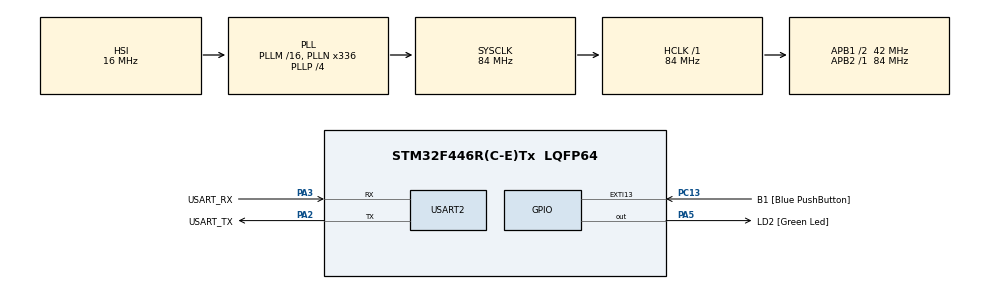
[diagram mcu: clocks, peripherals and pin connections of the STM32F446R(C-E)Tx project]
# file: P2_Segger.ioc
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Mcu.Family=STM32F4
Mcu.Name=STM32F446R(C-E)Tx
Mcu.Package=LQFP64
NVIC.PriorityGroup=NVIC_PRIORITYGROUP_4
NVIC.TIM5_IRQn=true\:0\:0\:false\:false\:true\:false\:true\:true
NVIC.TimeBase=TIM5_IRQn
NVIC.TimeBaseIP=TIM5
PA13.GPIO_Label=TMS
PA13.Mode=Serial_Wire
PA13.Signal=SYS_JTMS-SWDIO
PA14.GPIO_Label=TCK
PA14.Mode=Serial_Wire
PA14.Signal=SYS_JTCK-SWCLK
PA2.GPIO_Label=USART_TX
PA2.Mode=Asynchronous
PA2.Signal=USART2_TX
PA3.GPIO_Label=USART_RX
PA3.Mode=Asynchronous
PA3.Signal=USART2_RX
PA5.GPIO_Label=LD2 [Green Led]
PA5.Signal=GPIO_Output
PB3.GPIO_Label=SWO
PB3.Signal=SYS_JTDO-SWO
PC13.GPIO_Label=B1 [Blue PushButton]
PC13.GPIO_ModeDefaultEXTI=GPIO_MODE_IT_FALLING
PC13.Signal=GPXTI13
PC14-OSC32_IN.Mode=LSE-External-Oscillator
PC14-OSC32_IN.Signal=RCC_OSC32_IN
PC15-OSC32_OUT.Mode=LSE-External-Oscillator
PC15-OSC32_OUT.Signal=RCC_OSC32_OUT
PH0-OSC_IN.Mode=HSE-External-Oscillator
PH0-OSC_IN.Signal=RCC_OSC_IN
PH1-OSC_OUT.Mode=HSE-External-Oscillator
PH1-OSC_OUT.Signal=RCC_OSC_OUT
ProjectManager.HeapSize=0x200
ProjectManager.StackSize=0x400
ProjectManager.TargetToolchain=STM32CubeIDE
RCC.48MHZClocksFreq_Value=84000000
RCC.AHBFreq_Value=84000000
RCC.APB1CLKDivider=RCC_HCLK_DIV2
RCC.APB1Freq_Value=42000000
RCC.APB1TimFreq_Value=84000000
RCC.APB2Freq_Value=84000000
RCC.APB2TimFreq_Value=84000000
RCC.CortexFreq_Value=84000000
RCC.FLatency-AdvancedSettings=FLASH_LATENCY_2
RCC.HCLKFreq_Value=84000000
RCC.HSE_VALUE=8000000
RCC.HSI_VALUE=16000000
RCC.PLLN=336
RCC.PLLP=RCC_PLLP_DIV4
RCC.SYSCLKFreq_VALUE=84000000
RCC.SYSCLKSource=RCC_SYSCLKSOURCE_PLLCLK
RCC.USBFreq_Value=168000000
RCC.VCOOutputFreq_Value=336000000
USART2.VirtualMode=VM_ASYNC
VP_SYS_VS_tim5.Mode=TIM5
board=NUCLEO-F446RE

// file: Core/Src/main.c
/* USER CODE BEGIN Header */
/**
  ******************************************************************************
  * @file           : main.c
  * @brief          : Main program body
  ******************************************************************************
  * @attention
  *
  * Copyright (c) 2023 STMicroelectronics.
  * All rights reserved.
  *
  * This software is licensed under terms that can be found in the LICENSE file
  * in the root directory of this software component.
  * If no LICENSE file comes with this software, it is provided AS-IS.
  *
  ******************************************************************************
  */
/* USER CODE END Header */
#include "main.h"

/* USER CODE BEGIN Includes */
#include"FreeRTOS.h"
#include"task.h"
#include"stdio.h"
/* USER CODE END Includes */

UART_HandleTypeDef huart2;

/* USER CODE BEGIN PV */
#define DWT_CTRL (*(volatile uint32_t *)0xE0001000)
/* USER CODE END PV */

void SystemClock_Config(void);
static void MX_GPIO_Init(void);
static void MX_USART2_UART_Init(void);
/* USER CODE BEGIN PFP */
static void task1_handler(void * parameters);
static void task2_handler(void * parameters);
/* USER CODE END PFP */

int main(void)
{

  /* MCU Configuration--------------------------------------------------------*/

  /* Reset of all peripherals, Initializes the Flash interface and the Systick. */
  HAL_Init();

  /* USER CODE BEGIN Init */
  TaskHandle_t task1_handle;
  TaskHandle_t task2_handle;

  BaseType_t status;
  /* USER CODE END Init */

  /* Configure the system clock */
  SystemClock_Config();

  /* USER CODE BEGIN SysInit */
  TaskHandle_t xTaskHanle1 =NULL;
    TaskHandle_t xTaskHanle2 =NULL;
  /* USER CODE END SysInit */

  /* Initialize all configured peripherals */
  MX_GPIO_Init();
  MX_USART2_UART_Init();
  /* USER CODE BEGIN 2 */
  //  Enable CYCCNT counter
    	  	  DWT_CTRL |= (1<<0);

    	  	  SEGGER_SYSVIEW_Conf();
    	  	  SEGGER_SYSVIEW_Start();

    	  	  status=xTaskCreate(task1_handler,"Task-1", 200,"Hello world from Task-1" , 2, &task1_handle);
      	  configASSERT(status== pdPASS);

      	  status=xTaskCreate(task2_handler,"Task-2", 200,"Hello world from Task-2" , 2, &task2_handle);
      	  configASSERT(status== pdPASS);

  vTaskStartScheduler();
  /* USER CODE END 2 */

  /* Infinite loop */
  while (1)
  {

  }
}

void SystemClock_Config(void)
{
  RCC_OscInitTypeDef RCC_OscInitStruct = {0};
  RCC_ClkInitTypeDef RCC_ClkInitStruct = {0};

  /** Configure the main internal regulator output voltage
  */
  __HAL_RCC_PWR_CLK_ENABLE();
  __HAL_PWR_VOLTAGESCALING_CONFIG(PWR_REGULATOR_VOLTAGE_SCALE3);

  /** Initializes the RCC Oscillators according to the specified parameters
  * in the RCC_OscInitTypeDef structure.
  */
  RCC_OscInitStruct.OscillatorType = RCC_OSCILLATORTYPE_HSI;
  RCC_OscInitStruct.HSIState = RCC_HSI_ON;
  RCC_OscInitStruct.HSICalibrationValue = RCC_HSICALIBRATION_DEFAULT;
  RCC_OscInitStruct.PLL.PLLState = RCC_PLL_ON;
  RCC_OscInitStruct.PLL.PLLSource = RCC_PLLSOURCE_HSI;
  RCC_OscInitStruct.PLL.PLLM = 16;
  RCC_OscInitStruct.PLL.PLLN = 336;
  RCC_OscInitStruct.PLL.PLLP = RCC_PLLP_DIV4;
  RCC_OscInitStruct.PLL.PLLQ = 2;
  RCC_OscInitStruct.PLL.PLLR = 2;
  if (HAL_RCC_OscConfig(&RCC_OscInitStruct) != HAL_OK)
  {
    Error_Handler();
  }

  /** Initializes the CPU, AHB and APB buses clocks
  */
  RCC_ClkInitStruct.ClockType = RCC_CLOCKTYPE_HCLK|RCC_CLOCKTYPE_SYSCLK
                              |RCC_CLOCKTYPE_PCLK1|RCC_CLOCKTYPE_PCLK2;
  RCC_ClkInitStruct.SYSCLKSource = RCC_SYSCLKSOURCE_PLLCLK;
  RCC_ClkInitStruct.AHBCLKDivider = RCC_SYSCLK_DIV1;
  RCC_ClkInitStruct.APB1CLKDivider = RCC_HCLK_DIV2;
  RCC_ClkInitStruct.APB2CLKDivider = RCC_HCLK_DIV1;

  if (HAL_RCC_ClockConfig(&RCC_ClkInitStruct, FLASH_LATENCY_2) != HAL_OK)
  {
    Error_Handler();
  }
}

static void MX_USART2_UART_Init(void)
{

  huart2.Instance = USART2;
  huart2.Init.BaudRate = 115200;
  huart2.Init.WordLength = UART_WORDLENGTH_8B;
  huart2.Init.StopBits = UART_STOPBITS_1;
  huart2.Init.Parity = UART_PARITY_NONE;
  huart2.Init.Mode = UART_MODE_TX_RX;
  huart2.Init.HwFlowCtl = UART_HWCONTROL_NONE;
  huart2.Init.OverSampling = UART_OVERSAMPLING_16;
  if (HAL_UART_Init(&huart2) != HAL_OK)
  {
    Error_Handler();
  }

}

static void MX_GPIO_Init(void)
{
  GPIO_InitTypeDef GPIO_InitStruct = {0};

  /* GPIO Ports Clock Enable */
  __HAL_RCC_GPIOC_CLK_ENABLE();
  __HAL_RCC_GPIOH_CLK_ENABLE();
  __HAL_RCC_GPIOA_CLK_ENABLE();
  __HAL_RCC_GPIOB_CLK_ENABLE();

  /*Configure GPIO pin Output Level */
  HAL_GPIO_WritePin(LD2_GPIO_Port, LD2_Pin, GPIO_PIN_RESET);

  /*Configure GPIO pin : B1_Pin */
  GPIO_InitStruct.Pin = B1_Pin;
  GPIO_InitStruct.Mode = GPIO_MODE_IT_FALLING;
  GPIO_InitStruct.Pull = GPIO_NOPULL;
  HAL_GPIO_Init(B1_GPIO_Port, &GPIO_InitStruct);

  /*Configure GPIO pin : LD2_Pin */
  GPIO_InitStruct.Pin = LD2_Pin;
  GPIO_InitStruct.Mode = GPIO_MODE_OUTPUT_PP;
  GPIO_InitStruct.Pull = GPIO_NOPULL;
  GPIO_InitStruct.Speed = GPIO_SPEED_FREQ_LOW;
  HAL_GPIO_Init(LD2_GPIO_Port, &GPIO_InitStruct);

}

/* USER CODE BEGIN 4 */
static void task1_handler(void * parameters)
{
	char  msg[100];
	while(1)
	{
		//printf("%s\n",(char*)parameters);
		snprintf(msg,100,"%s\n",(char*)parameters);
		SEGGER_SYSVIEW_PrintfTarget(msg);

		//taskYIELD();
	}
}

static void task2_handler(void * parameters)
{
	char  msg[100];
	while(1)
		{
		//printf("%s\n",(char*)parameters);
		snprintf(msg,100,"%s\n",(char*)parameters);
		SEGGER_SYSVIEW_PrintfTarget(msg);

		//taskYIELD();
		}
}
/* USER CODE END 4 */

void HAL_TIM_PeriodElapsedCallback(TIM_HandleTypeDef *htim)
{
  if (htim->Instance == TIM5) {
    HAL_IncTick();
  }
}

void Error_Handler(void)
{
  __disable_irq();
  while (1)
  {
  }
}
